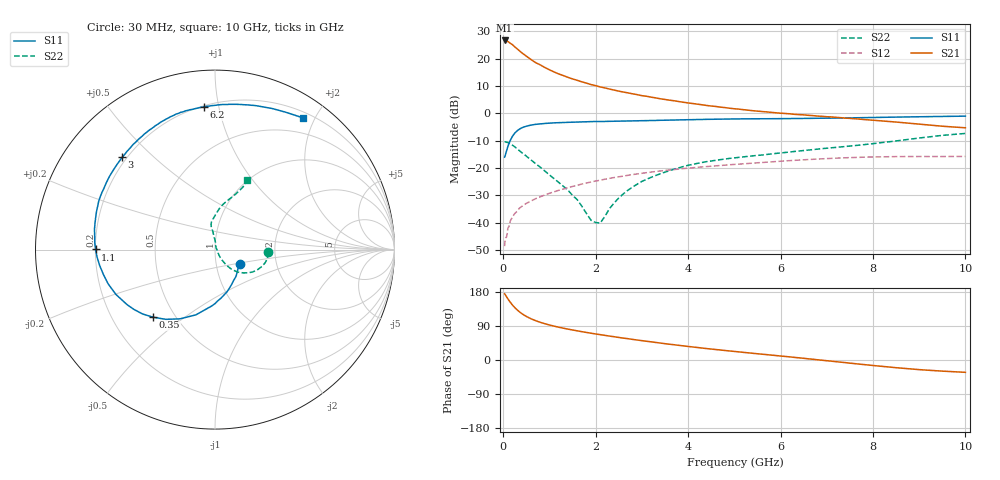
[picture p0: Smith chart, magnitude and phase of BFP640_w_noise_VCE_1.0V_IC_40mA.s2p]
! (c) 2013  Infineon Technologies AG, Munich
! Infineon Technologies  Discrete & RF Semiconductors
! BFP640
! VCE =  1.0 V,  IC =  40 mA
! Common Emitter S-Parameters:  Apr 2013
# GHz  S  MA  R  50
!  f  S11  S21  S12  S22
! GHz  MAG  ANG  MAG  ANG  MAG  ANG  MAG  ANG
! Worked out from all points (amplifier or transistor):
!   99 points, 30 MHz to 10 GHz, reference 50 ohm
!   highest |S21| = 26.6 dB at 30 MHz (marker M1)
!   |S21| within 3 dB of that: start of sweep to 297.1 MHz
!   unconditionally stable (mu >= 1): start of sweep to end of sweep
!   at 350 MHz: K = 1.42, MAG = 24.9 dB, |S12| = -34.8 dB
!   at 3.5 GHz: K = 1.51, MAG = 8.8 dB, |S12| = -21.0 dB
!   at 10 GHz: K = 1.44, MAG = 1.3 dB, |S12| = -15.8 dB
!   lowest NFmin = 1.25 dB at 450 MHz
!   S11 on the Smith chart (normalised r, x): 30 MHz: 1.30, -0.21; 350 MHz: 0.38, -0.39; 1.1 GHz: 0.20, +0.00; 3 GHz: 0.18, +0.40; 6.2 GHz: 0.21, +0.90; 10 GHz: 0.28, +1.84
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0.03  0.1574 -29.6  21.39 174.7  0.0037 28.5  0.2971 -3.0
0.1  0.2444 -74.1  20.48 161.7  0.0078 51.1  0.2903 -13.7
0.12  0.2727 -83.0  20 157.9  0.0083 54.6  0.2852 -16.4
0.2  0.3787 -106.3  17.89 145.0  0.0126 56.0  0.2597 -26.3
0.25  0.4327 -116.9  16.34 138.4  0.0147 56.0  0.2425 -31.1
0.3  0.4754 -125.2  15.07 132.4  0.016 53.7  0.2231 -35.4
0.35  0.5108 -132.5  13.85 127.2  0.0183 55.4  0.206 -39.1
0.45  0.561 -143.5  11.89 118.6  0.0212 54.0  0.1776 -44.7
0.6  0.6061 -155.7  9.6 108.9  0.0248 53.3  0.1402 -50.3
0.7  0.6251 -162.2  8.423 103.8  0.0273 52.9  0.1194 -52.3
0.8  0.6368 -167.4  7.665 99.5  0.0296 53.2  0.1034 -54.1
1.1  0.6656 179.9  5.675 89.4  0.0365 53.7  0.0636 -56.0
1.4  0.681 170.4  4.524 81.5  0.0435 53.2  0.0391 -55.2
1.7  0.6932 162.3  3.749 74.8  0.0506 52.0  0.02 -37.9
2.1  0.7058 153.2  3.022 66.9  0.0595 49.7  0.0098 45.8
3  0.7295 135.2  2.094 51.1  0.0796 42.8  0.0566 91.3
3.4  0.7422 128.1  1.833 44.7  0.0878 39.3  0.0781 95.3
5.1  0.7856 105.0  1.187 21.4  0.1171 25.0  0.1556 97.2
6.2  0.7968 94.4  0.974 8.2  0.1358 15.9  0.1951 89.1
6.7  0.8056 89.1  0.904 2.0  0.1436 11.1  0.2161 85.8
8.5  0.8482 67.9  0.689 -20.3  0.1608 -6.7  0.311 71.6
10  0.883 56.1  0.541 -32.5  0.1619 -16.8  0.4263 65.1
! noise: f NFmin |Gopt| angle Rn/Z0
0.45  1.25  0.25  -170  0.05
0.9  1.25  0.28  -159  0.07
1.5  1.26  0.31  -145  0.09
1.9  1.29  0.32  222  0.12
2.4  1.34  0.33  -124  0.14
3.5  1.46  0.38  -107  0.17
5.5  1.67  0.42  -91  0.26
10  2.15  0.63  -49  0.74
